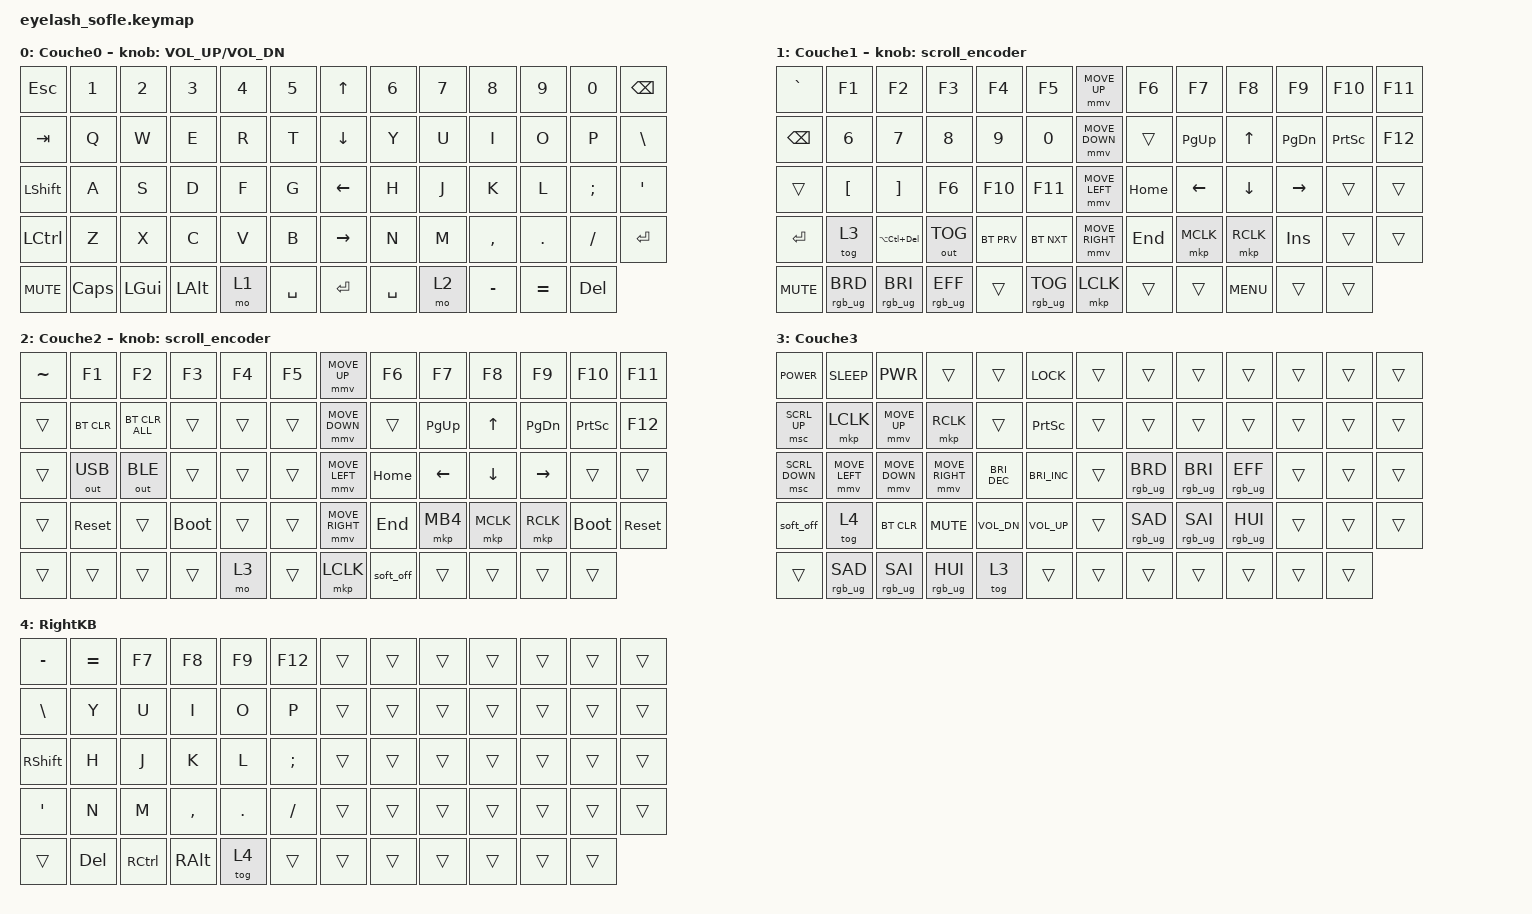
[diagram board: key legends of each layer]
#define ZMK_POINTING_DEFAULT_MOVE_VAL 1200  // 600
#define ZMK_POINTING_DEFAULT_SCRL_VAL 25   // 10

#include <input/processors.dtsi>
#include <zephyr/dt-bindings/input/input-event-codes.h>
#include <behaviors.dtsi>
#include <dt-bindings/zmk/bt.h>
#include <dt-bindings/zmk/keys.h>
#include <dt-bindings/zmk/outputs.h>
#include <dt-bindings/zmk/pointing.h>
#include <dt-bindings/zmk/rgb.h>

&mmv_input_listener { input-processors = <&zip_xy_scaler 2 1>; };

&msc_input_listener { input-processors = <&zip_scroll_scaler 2 1>; };

&msc {
    acceleration-exponent = <1>;      // 0
    time-to-max-speed-ms = <100>;       // 300
    delay-ms = <0>;                   // 0
};

&mmv {
    time-to-max-speed-ms = <500>;
    acceleration-exponent = <1>;
    trigger-period-ms = <16>;
};

&soft_off { hold-time-ms = <2000>; };

/ {
    scroll_encoder: scroll_encoder {
        compatible = "zmk,behavior-sensor-rotate";
        #sensor-binding-cells = <0>;
        bindings = <&msc SCRL_DOWN>, <&msc SCRL_UP>;

        tap-ms = <100>;
    };

    behaviors {
    };

    combos {
        compatible = "zmk,combos";

        softoff {
            bindings = <&soft_off>;
            key-positions = <14 28 40>;
        };
    };

    keymap {
        compatible = "zmk,keymap";

        layer0 {
            bindings = <
&kp ESC         &kp N1        &kp N2        &kp N3        &kp N4  &kp N5       &kp UP_ARROW     &kp N6     &kp N7  &kp N8     &kp N9     &kp N0      &kp BACKSPACE
&kp TAB         &kp Q         &kp W         &kp E         &kp R   &kp T        &kp DOWN_ARROW   &kp Y      &kp U   &kp I      &kp O      &kp P       &kp BSLH
&kp LEFT_SHIFT  &kp A         &kp S         &kp D         &kp F   &kp G        &kp LEFT_ARROW   &kp H      &kp J   &kp K      &kp L      &kp SEMI    &kp APOS
&kp LCTRL       &kp Z         &kp X         &kp C         &kp V   &kp B        &kp RIGHT_ARROW  &kp N      &kp M   &kp COMMA  &kp DOT    &kp FSLH    &kp ENTER
&kp C_MUTE      &kp CAPSLOCK  &kp LEFT_GUI  &kp LEFT_ALT  &mo 1   &kp SPACE    &kp ENTER        &kp SPACE  &mo 2   &kp MINUS  &kp EQUAL  &kp DELETE
            >;

            sensor-bindings = <&inc_dec_kp C_VOLUME_UP C_VOL_DN>;
            display-name = "Couche0";
        };

        layer1 {
            bindings = <
&kp GRAVE      &kp F1            &kp F2              &kp F3           &kp F4      &kp F5             &mmv MOVE_UP     &kp F6    &kp F7     &kp F8      &kp F9     &kp F10    &kp F11
&kp BACKSPACE  &kp NUMBER_6      &kp N7              &kp N8           &kp N9      &kp N0             &mmv MOVE_DOWN   &trans    &kp PG_UP  &kp UP      &kp PG_DN  &kp PSCRN  &kp F12
&trans         &kp LEFT_BRACKET  &kp RIGHT_BRACKET   &kp F6           &kp F10     &kp F11            &mmv MOVE_LEFT   &kp HOME  &kp LEFT   &kp DOWN    &kp RIGHT  &trans     &trans
&kp RET        &tog 3            &kp LA(LC(DELETE))  &out OUT_TOG     &bt BT_PRV  &bt BT_NXT         &mmv MOVE_RIGHT  &kp END   &mkp MCLK  &mkp RCLK   &kp INS    &trans     &trans
&kp C_MUTE     &rgb_ug RGB_BRD   &rgb_ug RGB_BRI     &rgb_ug RGB_EFF  &trans      &rgb_ug RGB_TOG    &mkp LCLK        &trans    &trans     &kp C_MENU  &trans     &trans
            >;

            display-name = "Couche1";
            sensor-bindings = <&scroll_encoder>;
        };

        layer2 {
            bindings = <
&kp TILDE  &kp F1        &kp F2          &kp F3       &kp F4  &kp F5    &mmv MOVE_UP     &kp F6     &kp F7     &kp F8        &kp F9     &kp F10      &kp F11
&trans     &bt BT_CLR    &bt BT_CLR_ALL  &trans       &trans  &trans    &mmv MOVE_DOWN   &trans     &kp PG_UP  &kp UP_ARROW  &kp PG_DN  &kp PSCRN    &kp F12
&trans     &out OUT_USB  &out OUT_BLE    &trans       &trans  &trans    &mmv MOVE_LEFT   &kp HOME   &kp LEFT   &kp DOWN      &kp RIGHT  &trans       &trans
&trans     &sys_reset    &trans          &bootloader  &trans  &trans    &mmv MOVE_RIGHT  &kp END    &mkp MB4   &mkp MCLK     &mkp RCLK  &bootloader  &sys_reset
&trans     &trans        &trans          &trans       &mo 3   &trans    &mkp LCLK        &soft_off  &trans     &trans        &trans     &trans
            >;

            display-name = "Couche2";
            sensor-bindings = <&scroll_encoder>;
        };

        layer3 {
            bindings = <
&kp K_POWER     &kp K_SLEEP      &kp K_PWR        &trans           &trans                &kp K_LOCK              &trans  &trans           &trans           &trans           &trans  &trans  &trans
&msc SCRL_UP    &mkp LCLK        &mmv MOVE_UP     &mkp RCLK        &trans                &kp PSCRN               &trans  &trans           &trans           &trans           &trans  &trans  &trans
&msc SCRL_DOWN  &mmv MOVE_LEFT   &mmv MOVE_DOWN   &mmv MOVE_RIGHT  &kp C_BRIGHTNESS_DEC  &kp C_BRIGHTNESS_INC    &trans  &rgb_ug RGB_BRD  &rgb_ug RGB_BRI  &rgb_ug RGB_EFF  &trans  &trans  &trans
&soft_off       &tog 4           &bt BT_CLR       &kp K_MUTE       &kp C_VOL_DN          &kp C_VOL_UP            &trans  &rgb_ug RGB_SAD  &rgb_ug RGB_SAI  &rgb_ug RGB_HUI  &trans  &trans  &trans
&trans          &rgb_ug RGB_SAD  &rgb_ug RGB_SAI  &rgb_ug RGB_HUI  &tog 3                &trans                  &trans  &trans           &trans           &trans           &trans  &trans
            >;

            display-name = "Couche3";
        };

        layer4 {
            bindings = <
&kp MINUS        &kp EQUAL   &kp F7     &kp F8         &kp F9   &kp F12          &trans  &trans  &trans  &trans  &trans  &trans  &trans
&kp BACKSLASH    &kp Y       &kp U      &kp I          &kp O    &kp P            &trans  &trans  &trans  &trans  &trans  &trans  &trans
&kp RIGHT_SHIFT  &kp H       &kp J      &kp K          &kp L    &kp SEMICOLON    &trans  &trans  &trans  &trans  &trans  &trans  &trans
&kp SQT          &kp N       &kp M      &kp COMMA      &kp DOT  &kp SLASH        &trans  &trans  &trans  &trans  &trans  &trans  &trans
&trans           &kp DELETE  &kp RCTRL  &kp RIGHT_ALT  &tog 4   &trans           &trans  &trans  &trans  &trans  &trans  &trans
            >;

            display-name = "RightKB";
        };
    };
};
